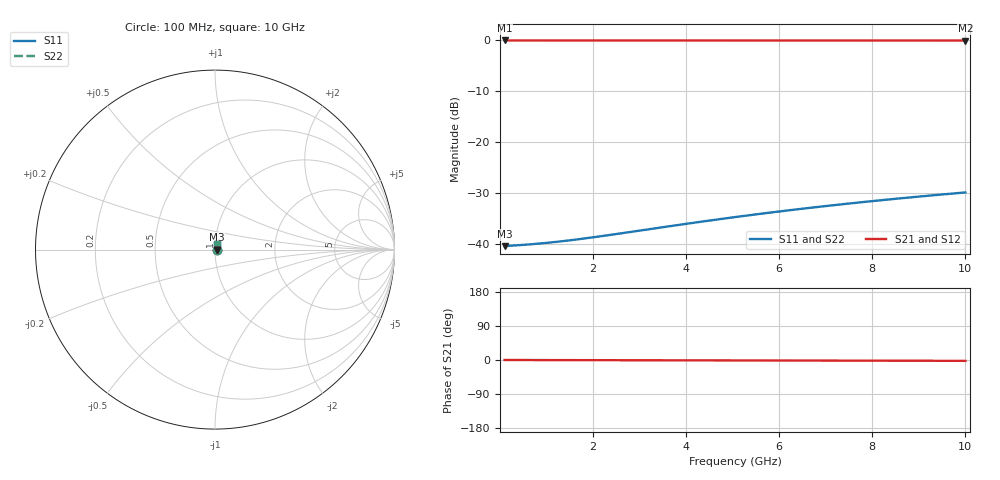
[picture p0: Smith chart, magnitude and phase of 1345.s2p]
# Hz S RI R 50.00
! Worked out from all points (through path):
!   100 points, 100 MHz to 10 GHz, reference 50 ohm
!   highest |S21| = -0.08 dB at 100 MHz (marker M1); lowest = -0.1 dB at 10 GHz (marker M2)
!   lowest |S11| = -40.3 dB at 100 MHz (marker M3), VSWR 1.02, Z = 51 + j0.0308 ohm
!   |S11| at or under -10 dB: start of sweep to end of sweep
!   |S22| runs from -40.3 to -29.8 dB; largest |S21 - S12| = 0
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1e8  0.0096 0.000302  0.9904 -0.000386  0.9904 -0.000386  0.0096 0.000302
6e8  0.00981 0.00181  0.9902 -0.00231  0.9902 -0.00231  0.00981 0.00181
8e8  0.00986 0.00241  0.9901 -0.00309  0.9901 -0.00309  0.00986 0.00241
1e9  0.0099 0.00302  0.9901 -0.00386  0.9901 -0.00386  0.0099 0.00302
1.2e9  0.00994 0.00362  0.9901 -0.00463  0.9901 -0.00463  0.00994 0.00362
1.4e9  0.00997 0.00422  0.99 -0.0054  0.99 -0.0054  0.00997 0.00422
1.8e9  0.01 0.00543  0.99 -0.00694  0.99 -0.00694  0.01 0.00543
2.1e9  0.0101 0.00633  0.9899 -0.0081  0.9899 -0.0081  0.0101 0.00633
2.4e9  0.0101 0.00723  0.9899 -0.00925  0.9899 -0.00925  0.0101 0.00723
3.4e9  0.0103 0.0102  0.9897 -0.0131  0.9897 -0.0131  0.0103 0.0102
4.3e9  0.0104 0.013  0.9896 -0.0166  0.9896 -0.0166  0.0104 0.013
4.7e9  0.0105 0.0142  0.9895 -0.0181  0.9895 -0.0181  0.0105 0.0142
5.1e9  0.0105 0.0154  0.9895 -0.0197  0.9895 -0.0197  0.0105 0.0154
5.5e9  0.0106 0.0166  0.9894 -0.0212  0.9894 -0.0212  0.0106 0.0166
5.9e9  0.0107 0.0178  0.9893 -0.0227  0.9893 -0.0227  0.0107 0.0178
6.3e9  0.0107 0.019  0.9893 -0.0243  0.9893 -0.0243  0.0107 0.019
6.7e9  0.0108 0.0202  0.9892 -0.0258  0.9892 -0.0258  0.0108 0.0202
7.5e9  0.011 0.0226  0.989 -0.0289  0.989 -0.0289  0.011 0.0226
7.9e9  0.0111 0.0238  0.9889 -0.0304  0.9889 -0.0304  0.0111 0.0238
8.4e9  0.0112 0.0253  0.9888 -0.0324  0.9888 -0.0324  0.0112 0.0253
9.2e9  0.0114 0.0277  0.9886 -0.0354  0.9886 -0.0354  0.0114 0.0277
1e10  0.0116 0.0301  0.9884 -0.0385  0.9884 -0.0385  0.0116 0.0301
